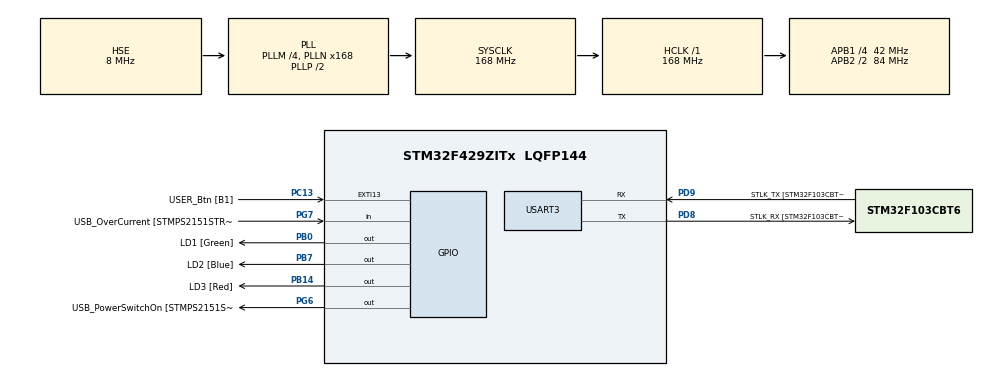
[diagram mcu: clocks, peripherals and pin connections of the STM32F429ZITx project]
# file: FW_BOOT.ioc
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IWDG.Prescaler=IWDG_PRESCALER_256
IWDG.Reload=500
Mcu.Family=STM32F4
Mcu.Name=STM32F429ZITx
Mcu.Package=LQFP144
NVIC.PriorityGroup=NVIC_PRIORITYGROUP_4
PA13.GPIO_Label=TMS
PA13.Mode=Serial_Wire
PA13.Signal=SYS_JTMS-SWDIO
PA14.GPIO_Label=TCK
PA14.Mode=Serial_Wire
PA14.Signal=SYS_JTCK-SWCLK
PB0.GPIO_Label=LD1 [Green]
PB0.Signal=GPIO_Output
PB14.GPIO_Label=LD3 [Red]
PB14.Signal=GPIO_Output
PB7.GPIO_Label=LD2 [Blue]
PB7.Signal=GPIO_Output
PC13.GPIO_Label=USER_Btn [B1]
PC13.Signal=GPXTI13
PC14/OSC32_IN.Mode=LSE-External-Oscillator
PC14/OSC32_IN.Signal=RCC_OSC32_IN
PC15/OSC32_OUT.Mode=LSE-External-Oscillator
PC15/OSC32_OUT.Signal=RCC_OSC32_OUT
PD8.GPIO_Label=STLK_RX [STM32F103CBT6_PA3]
PD8.Mode=Asynchronous
PD8.Signal=USART3_TX
PD9.GPIO_Label=STLK_TX [STM32F103CBT6_PA2]
PD9.Mode=Asynchronous
PD9.Signal=USART3_RX
PG6.GPIO_Label=USB_PowerSwitchOn [STMPS2151STR_EN]
PG6.Signal=GPIO_Output
PG7.GPIO_Label=USB_OverCurrent [STMPS2151STR_FAULT]
PG7.Signal=GPIO_Input
PH0/OSC_IN.GPIO_Label=MCO [STM32F103CBT6_PA8]
PH0/OSC_IN.Mode=HSE-External-Clock-Source
PH0/OSC_IN.Signal=RCC_OSC_IN
PH1/OSC_OUT.Mode=HSE-External-Clock-Source
PH1/OSC_OUT.Signal=RCC_OSC_OUT
ProjectManager.HeapSize=0x200
ProjectManager.StackSize=0x400
ProjectManager.TargetToolchain=STM32CubeIDE
RCC.48MHZClocksFreq_Value=48000000
RCC.AHBFreq_Value=168000000
RCC.APB1CLKDivider=RCC_HCLK_DIV4
RCC.APB1Freq_Value=42000000
RCC.APB1TimFreq_Value=84000000
RCC.APB2CLKDivider=RCC_HCLK_DIV2
RCC.APB2Freq_Value=84000000
RCC.APB2TimCLKDivider=2
RCC.APB2TimFreq_Value=168000000
RCC.CortexFreq_Value=168000000
RCC.HCLKFreq_Value=168000000
RCC.HSE_VALUE=8000000
RCC.HSI_VALUE=16000000
RCC.PLLM=4
RCC.PLLMUL=RCC_PLL_MUL9
RCC.PLLN=168
RCC.PLLQ=7
RCC.PLLSourceVirtual=RCC_PLLSOURCE_HSE
RCC.PRESCALERUSB=RCC_USBCLKSOURCE_PLL_DIV1_5
RCC.SYSCLKFreq_VALUE=168000000
RCC.SYSCLKSource=RCC_SYSCLKSOURCE_PLLCLK
RCC.SYSCLKSourceVirtual=RCC_SYSCLKSOURCE_PLLCLK
RCC.USBFreq_Value=48000000
RCC.VCOOutputFreq_Value=336000000
USART3.VirtualMode=VM_ASYNC
VP_IWDG_VS_IWDG.Mode=IWDG_Activate
board=NUCLEO-F429ZI

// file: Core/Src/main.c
/* USER CODE BEGIN Header */
/**
  ******************************************************************************
  * @file           : main.c
  * @brief          : Main program body
  ******************************************************************************
  * @attention
  *
  * Copyright (c) 2026 STMicroelectronics.
  * All rights reserved.
  *
  * This software is licensed under terms that can be found in the LICENSE file
  * in the root directory of this software component.
  * If no LICENSE file comes with this software, it is provided AS-IS.
  *
  ******************************************************************************
  */
/* USER CODE END Header */
#include "main.h"

/* USER CODE BEGIN Includes */
#include "flash_if.h"
/* USER CODE END Includes */

/* USER CODE BEGIN PD */

/* APP_ADDRESS(0x0801_0000)는 flash_if.h에 정의됨 */

/* RAM 범위: 앱의 초기 스택 포인터가 이 안에 있어야 "유효한 앱"으로 판단 (RAM 192KB) */
#define RAM_START        0x20000000U
#define RAM_END          0x20030000U   /* 0x20000000 + 192KB */

/* USER CODE END PD */

IWDG_HandleTypeDef hiwdg;

UART_HandleTypeDef huart3;

void SystemClock_Config(void);
static void MX_GPIO_Init(void);
static void MX_USART3_UART_Init(void);
static void MX_IWDG_Init(void);
/* USER CODE BEGIN PFP */
static void BL_JumpToApplication(void);
static void BL_EnterUpdateMode(void);
static void BL_HandleUpdate(void);
static uint8_t BL_ApplyStagingToApp(uint32_t size, uint32_t expectCrc);
static void BL_Rollback(void);
static void BL_StartWatchdog(void);
static void BL_EnsureFactory(void);
/* USER CODE END PFP */

int main(void)
{

  /* MCU Configuration--------------------------------------------------------*/

  /* Reset of all peripherals, Initializes the Flash interface and the Systick. */
  HAL_Init();

  /* Configure the system clock */
  SystemClock_Config();

  /* Initialize all configured peripherals */
  MX_GPIO_Init();
  MX_USART3_UART_Init();
  /* MX_IWDG_Init(); */   /* ★★ CubeMX 재생성 때마다 주석이 풀린다 — 매번 다시 주석 처리할 것! ★★
                           * IWDG는 '앱'을 감시하는 장치이지 부트로더를 감시하는 장치가 아니다.
                           * 여기서 켜면 부트로더의 긴 Flash 작업이 4초를 넘겨 스스로 리셋된다:
                           *   · BL_EnsureFactory()   : App→Factory 512KB 복사 (최초 부팅)
                           *   · BL_ApplyStagingToApp(): Staging→App 복사
                           *   · BL_Rollback()        : Factory→App 복사
                           * → 부팅 무한 루프. 워치독은 TRIAL 앱으로 점프하기 직전
                           *   BL_StartWatchdog()에서만 시작한다.
                           * (README 4장 '워치독 원칙' / 9장 트러블슈팅) */
  /* USER CODE BEGIN 2 */

  /* 최초 부팅: Factory 슬롯이 비어있으면 현재 App을 Factory로 복사해 골든 이미지를 확보한다.
   * (첫 ST-Link 펌웨어가 롤백 복귀처가 됨. 이후로는 절대 안 건드림) */
  BL_EnsureFactory();

  /* Metadata 상태 머신 처리:
   *   PENDING  → Staging 적용 → TRIAL(워치독 켜고 시험 부팅)
   *   TRIAL    → (확인 실패로 재리셋됨) → 롤백(Factory→App)
   *   CONFIRMED→ 메타 클리어(정상 확정) */
  BL_HandleUpdate();

  /* USER 버튼(파랑 B1, PC13)을 누른 채 리셋하면 '업데이트 모드'로 진입한다.
   * (나중에는 앱이 세팅한 '업데이트 플래그'로도 진입시킬 예정)
   * 업데이트 모드에서는 앱으로 점프하지 않고 UART로 펌웨어 수신을 대기한다. */
  if (HAL_GPIO_ReadPin(USER_Btn_GPIO_Port, USER_Btn_Pin) == GPIO_PIN_SET)
  {
    BL_EnterUpdateMode();   /* 돌아오지 않음 */
  }

  /* [진단용] 부트로더가 실행됐음을 확인 — 점프 시도 '전'에 LD3를 3회 빠르게 깜빡인다.
   * · 이 3회 깜빡임이 보이면       → 부트로더는 정상 실행됨
   * · 이후 LED가 멈추거나 바뀌면    → 앱으로 점프한 것(앱 영역에 데이터 있음)
   * · 이후 LD3가 계속 천천히 깜빡이면 → 유효 앱 없음(정상 부트로더 모드)
   * · 3회 깜빡임조차 안 보이면      → 부트로더 미실행(빌드/플래시/클럭 문제) */
  for (int i = 0; i < 6; i++)
  {
    HAL_GPIO_TogglePin(LD3_GPIO_Port, LD3_Pin);
    HAL_Delay(100);
  }

  /* 부트로더 진입 직후: 유효한 앱이 있으면 앱으로 점프한다.
   * 유효한 앱이 없으면 아래 while 루프로 떨어져 LED로 '부트로더 모드'를 표시한다. */
  BL_JumpToApplication();

  /* USER CODE END 2 */

  /* Infinite loop */
  while (1)
  {

    /* USER CODE BEGIN 3 */

    /* === 부트로더 모드 표시 ===
     * 여기 도달했다 = 유효한 앱이 없어 점프하지 못하고 부트로더에 머무는 중.
     * LD3(빨강)를 천천히 깜빡여 '부트로더 모드'임을 알린다. */
    HAL_GPIO_TogglePin(LD3_GPIO_Port, LD3_Pin);
    HAL_Delay(500);
  }
  /* USER CODE END 3 */
}

void SystemClock_Config(void)
{
  RCC_OscInitTypeDef RCC_OscInitStruct = {0};
  RCC_ClkInitTypeDef RCC_ClkInitStruct = {0};

  /** Configure the main internal regulator output voltage
  */
  __HAL_RCC_PWR_CLK_ENABLE();
  __HAL_PWR_VOLTAGESCALING_CONFIG(PWR_REGULATOR_VOLTAGE_SCALE1);

  /** Initializes the RCC Oscillators according to the specified parameters
  * in the RCC_OscInitTypeDef structure.
  */
  RCC_OscInitStruct.OscillatorType = RCC_OSCILLATORTYPE_LSI|RCC_OSCILLATORTYPE_HSE;
  RCC_OscInitStruct.HSEState = RCC_HSE_BYPASS;
  RCC_OscInitStruct.LSIState = RCC_LSI_ON;
  RCC_OscInitStruct.PLL.PLLState = RCC_PLL_ON;
  RCC_OscInitStruct.PLL.PLLSource = RCC_PLLSOURCE_HSE;
  RCC_OscInitStruct.PLL.PLLM = 4;
  RCC_OscInitStruct.PLL.PLLN = 168;
  RCC_OscInitStruct.PLL.PLLP = RCC_PLLP_DIV2;
  RCC_OscInitStruct.PLL.PLLQ = 7;
  if (HAL_RCC_OscConfig(&RCC_OscInitStruct) != HAL_OK)
  {
    Error_Handler();
  }

  /** Initializes the CPU, AHB and APB buses clocks
  */
  RCC_ClkInitStruct.ClockType = RCC_CLOCKTYPE_HCLK|RCC_CLOCKTYPE_SYSCLK
                              |RCC_CLOCKTYPE_PCLK1|RCC_CLOCKTYPE_PCLK2;
  RCC_ClkInitStruct.SYSCLKSource = RCC_SYSCLKSOURCE_PLLCLK;
  RCC_ClkInitStruct.AHBCLKDivider = RCC_SYSCLK_DIV1;
  RCC_ClkInitStruct.APB1CLKDivider = RCC_HCLK_DIV4;
  RCC_ClkInitStruct.APB2CLKDivider = RCC_HCLK_DIV2;

  if (HAL_RCC_ClockConfig(&RCC_ClkInitStruct, FLASH_LATENCY_5) != HAL_OK)
  {
    Error_Handler();
  }
}

static void MX_IWDG_Init(void)
{

  hiwdg.Instance = IWDG;
  hiwdg.Init.Prescaler = IWDG_PRESCALER_256;
  hiwdg.Init.Reload = 500;
  if (HAL_IWDG_Init(&hiwdg) != HAL_OK)
  {
    Error_Handler();
  }

}

static void MX_USART3_UART_Init(void)
{

  huart3.Instance = USART3;
  huart3.Init.BaudRate = 115200;
  huart3.Init.WordLength = UART_WORDLENGTH_8B;
  huart3.Init.StopBits = UART_STOPBITS_1;
  huart3.Init.Parity = UART_PARITY_NONE;
  huart3.Init.Mode = UART_MODE_TX_RX;
  huart3.Init.HwFlowCtl = UART_HWCONTROL_NONE;
  huart3.Init.OverSampling = UART_OVERSAMPLING_16;
  if (HAL_UART_Init(&huart3) != HAL_OK)
  {
    Error_Handler();
  }

}

static void MX_GPIO_Init(void)
{
  GPIO_InitTypeDef GPIO_InitStruct = {0};

  /* GPIO Ports Clock Enable */
  __HAL_RCC_GPIOC_CLK_ENABLE();
  __HAL_RCC_GPIOH_CLK_ENABLE();
  __HAL_RCC_GPIOB_CLK_ENABLE();
  __HAL_RCC_GPIOD_CLK_ENABLE();
  __HAL_RCC_GPIOG_CLK_ENABLE();
  __HAL_RCC_GPIOA_CLK_ENABLE();

  /*Configure GPIO pin Output Level */
  HAL_GPIO_WritePin(GPIOB, LD1_Pin|LD3_Pin|LD2_Pin, GPIO_PIN_RESET);

  /*Configure GPIO pin Output Level */
  HAL_GPIO_WritePin(USB_PowerSwitchOn_GPIO_Port, USB_PowerSwitchOn_Pin, GPIO_PIN_RESET);

  /*Configure GPIO pin : USER_Btn_Pin */
  GPIO_InitStruct.Pin = USER_Btn_Pin;
  GPIO_InitStruct.Mode = GPIO_MODE_IT_RISING;
  GPIO_InitStruct.Pull = GPIO_NOPULL;
  HAL_GPIO_Init(USER_Btn_GPIO_Port, &GPIO_InitStruct);

  /*Configure GPIO pins : LD1_Pin LD3_Pin LD2_Pin */
  GPIO_InitStruct.Pin = LD1_Pin|LD3_Pin|LD2_Pin;
  GPIO_InitStruct.Mode = GPIO_MODE_OUTPUT_PP;
  GPIO_InitStruct.Pull = GPIO_NOPULL;
  GPIO_InitStruct.Speed = GPIO_SPEED_FREQ_LOW;
  HAL_GPIO_Init(GPIOB, &GPIO_InitStruct);

  /*Configure GPIO pin : USB_PowerSwitchOn_Pin */
  GPIO_InitStruct.Pin = USB_PowerSwitchOn_Pin;
  GPIO_InitStruct.Mode = GPIO_MODE_OUTPUT_PP;
  GPIO_InitStruct.Pull = GPIO_NOPULL;
  GPIO_InitStruct.Speed = GPIO_SPEED_FREQ_LOW;
  HAL_GPIO_Init(USB_PowerSwitchOn_GPIO_Port, &GPIO_InitStruct);

  /*Configure GPIO pin : USB_OverCurrent_Pin */
  GPIO_InitStruct.Pin = USB_OverCurrent_Pin;
  GPIO_InitStruct.Mode = GPIO_MODE_INPUT;
  GPIO_InitStruct.Pull = GPIO_NOPULL;
  HAL_GPIO_Init(USB_OverCurrent_GPIO_Port, &GPIO_InitStruct);

}

/* USER CODE BEGIN 4 */

/**
  * @brief  APP_ADDRESS에 유효한 애플리케이션이 있으면 그곳으로 점프한다.
  *         유효한 앱이 없으면 그대로 리턴하여 부트로더에 머문다.
  * @note   리셋 시 하드웨어가 하는 동작(SP 로드 -> Reset_Handler 점프)을
  *         소프트웨어로 재현한다.
  */
static void BL_JumpToApplication(void)
{
  /* 벡터 테이블의 맨 앞 2개 워드 = [초기 스택 포인터][Reset_Handler 주소] */
  uint32_t appStack = *(volatile uint32_t *)(APP_ADDRESS);
  uint32_t appEntry = *(volatile uint32_t *)(APP_ADDRESS + 4U);

  /* --- 앱 유효성 검사 ---
   * 앱이 아직 안 구워졌으면 Flash가 지워진 상태(0xFFFFFFFF)라 SP가 RAM 범위를 벗어난다.
   * 초기 스택 포인터가 RAM(0x2000_0000~) 안에 있어야 정상 앱으로 판단한다. */
  if (appStack < RAM_START || appStack > RAM_END)
  {
    return;   /* 유효한 앱 없음 -> 부트로더에 머무름 */
  }

  /* --- 인계(handoff) 전 정리 ---
   * 부트로더가 켜둔 주변장치/인터럽트/SysTick을 끄지 않으면
   * 앱 초기화 도중 남은 인터럽트가 튀어 오동작한다. */
  HAL_RCC_DeInit();
  HAL_DeInit();

  SysTick->CTRL = 0;
  SysTick->LOAD = 0;
  SysTick->VAL  = 0;

  __disable_irq();

  /* 앱의 벡터 테이블로 전환 (★ 앱도 자기 쪽에서 다시 설정하지만 여기서도 맞춰준다) */
  SCB->VTOR = APP_ADDRESS;

  /* 스택 포인터를 앱 것으로 교체 */
  __set_MSP(appStack);

  /* 인터럽트 다시 켜기 (★ 정상 리셋 상태 재현)
   * 안 켜면 앱의 SysTick 인터럽트가 안 울려 HAL_Delay()가 영원히 멈춘다. */
  __enable_irq();

  ((void (*)(void))appEntry)();   /* 여기서 앱이 시작되며, 돌아오지 않는다 */
}

/**
  * @brief  업데이트 모드: 앱으로 점프하지 않고 UART(USART3)로 데이터 수신을 대기한다.
  * @note   [3a 단계] 아직 프로토콜은 없고, UART 링크 검증용이다.
  *         · 진입 시 배너 문자열 송신 + LD2(파랑) 켜기
  *         · 1초간 수신 없으면 '.' 하트비트 송신 (수신 전용 뷰어로도 링크 확인)
  *         · 바이트 수신 시 그대로 echo + LD3(빨강) 토글
  *         이후 3b에서 프로토콜 파서 + FlashIf_Write() 로 확장한다. (돌아오지 않음)
  */
static void BL_EnterUpdateMode(void)
{
  const char banner[] = "\r\n[FW_BOOT] Update mode ready (USART3, 115200 8N1)\r\n";
  uint8_t rxByte;

  HAL_GPIO_WritePin(LD2_GPIO_Port, LD2_Pin, GPIO_PIN_SET);   /* 파랑: 업데이트 모드 */
  HAL_UART_Transmit(&huart3, (uint8_t *)banner, sizeof(banner) - 1U, HAL_MAX_DELAY);

  while (1)
  {
    /* USART3으로 1바이트 수신 (1초 타임아웃) */
    if (HAL_UART_Receive(&huart3, &rxByte, 1U, 1000U) == HAL_OK)
    {
      HAL_UART_Transmit(&huart3, &rxByte, 1U, HAL_MAX_DELAY);   /* echo */
      HAL_GPIO_TogglePin(LD3_GPIO_Port, LD3_Pin);              /* 수신 표시 */
    }
    else
    {
      /* 1초간 수신 없음 → 하트비트 '.' 송신 */
      HAL_UART_Transmit(&huart3, (uint8_t *)".", 1U, HAL_MAX_DELAY);
    }
  }
}

/**
  * @brief  Staging → 실행영역으로 복사·검증한다 (erase + copy + CRC 검증).
  * @return 1: 성공, 0: 실패(Staging 손상 / flash 오류)
  */
static uint8_t BL_ApplyStagingToApp(uint32_t size, uint32_t expectCrc)
{
  if ((size == 0U) || (size > APP_SIZE)) return 0U;

  /* Staging 무결성 (보관 중 손상 확인) */
  if (FlashIf_Crc32((const uint8_t *)STAGING_ADDRESS, size) != expectCrc) return 0U;

  HAL_GPIO_WritePin(LD2_GPIO_Port, LD2_Pin, GPIO_PIN_SET);   /* 적용 중: 파랑 */

  if (FlashIf_EraseRange(APP_ADDRESS, APP_ADDRESS + size - 1U) != FLASH_IF_OK) return 0U;
  if (FlashIf_Write(APP_ADDRESS, (const uint8_t *)STAGING_ADDRESS, (size + 3U) & ~3U) != FLASH_IF_OK) return 0U;
  if (FlashIf_Crc32((const uint8_t *)APP_ADDRESS, size) != expectCrc) return 0U;   /* 복사 결과 검증 */

  HAL_GPIO_WritePin(LD2_GPIO_Port, LD2_Pin, GPIO_PIN_RESET);
  return 1U;
}

/**
  * @brief  Factory(골든 이미지)를 실행영역으로 복사하여 롤백한다.
  */
static void BL_Rollback(void)
{
  HAL_GPIO_WritePin(LD3_GPIO_Port, LD3_Pin, GPIO_PIN_SET);   /* 롤백 중: 빨강 */
  if (FlashIf_EraseRange(APP_ADDRESS, APP_END_ADDRESS) == FLASH_IF_OK)
  {
    FlashIf_Write(APP_ADDRESS, (const uint8_t *)FACTORY_ADDRESS, APP_SIZE);
  }
  HAL_GPIO_WritePin(LD3_GPIO_Port, LD3_Pin, GPIO_PIN_RESET);
}

/**
  * @brief  독립 워치독(IWDG)을 켠다 (약 4초). 시험 부팅 앱이 주기적으로 갱신(pet)하지 않으면 리셋된다.
  * @note   IWDG는 한 번 켜지면 리셋 전까지 못 끈다 → 시험(TRIAL) 부팅에서만 켠다.
  */
static void BL_StartWatchdog(void)
{
  /* CubeMX가 생성한 설정(프리스케일 /256, 리로드 500 ≈ 4초)으로 IWDG를 시작한다.
   * HAL_IWDG_Init()가 내부에서 IWDG를 켜므로, 이 시점(=TRIAL 점프 직전) 이후로는
   * 앱이 주기적으로 갱신(pet)하지 않으면 리셋된다. */
  MX_IWDG_Init();
}

/**
  * @brief  Metadata 상태 머신을 처리한다 (적용/시험/롤백/확인). 부팅마다 호출된다.
  */
static void BL_HandleUpdate(void)
{
  const FwMeta *m = (const FwMeta *)METADATA_ADDRESS;
  FwMeta meta;

  if (m->magic != FW_UPDATE_MAGIC)
  {
    return;   /* 유효 메타 없음 → 정상 부팅 */
  }
  meta = *m;

  switch (meta.state)
  {
    case FW_STATE_PENDING:
      /* 새 펌웨어 적용 성공 → TRIAL로 전환, 워치독 켜고 시험 부팅 */
      if (BL_ApplyStagingToApp(meta.size, meta.crc))
      {
        meta.state    = FW_STATE_TRIAL;
        meta.attempts = 1U;
        FlashIf_WriteMeta(&meta);
        BL_StartWatchdog();
      }
      /* 적용 실패 → PENDING 유지, 다음 부팅 재시도 */
      break;

    case FW_STATE_TRIAL:
      /* 여기 도달 = 직전 시험 부팅이 CONFIRMED에 못 가고 (워치독으로) 리셋됨 */
      if (meta.attempts >= FW_MAX_TRIALS)
      {
        BL_Rollback();          /* 시험 실패 → Factory로 복귀 */
        FlashIf_ClearMeta();
      }
      else
      {
        meta.attempts++;
        FlashIf_WriteMeta(&meta);
        BL_StartWatchdog();     /* 한 번 더 시험 */
      }
      break;

    case FW_STATE_CONFIRMED:
      FlashIf_ClearMeta();      /* 정상 확인됨 → 메타 클리어, 이후 정상 부팅 */
      break;

    default:
      break;                    /* NONE 등 → 정상 부팅 */
  }
}

/**
  * @brief  Factory 슬롯이 비어있으면 현재 App 슬롯 전체를 Factory로 복사한다.
  * @note   최초 1회만 실행(첫 펌웨어를 골든 이미지로 확보). 이후엔 Factory가 유효하므로 즉시 리턴.
  *         App 슬롯 전체(512KB)를 복사하므로 최초 부팅은 수 초 걸릴 수 있다(1회성).
  */
static void BL_EnsureFactory(void)
{
  uint32_t factorySp = *(volatile uint32_t *)FACTORY_ADDRESS;
  uint32_t appSp     = *(volatile uint32_t *)APP_ADDRESS;

  /* Factory가 이미 유효(SP가 RAM 범위)하면 그대로 둔다 */
  if (factorySp >= RAM_START && factorySp <= RAM_END)
  {
    return;
  }

  /* App이 유효하지 않으면 복사할 원본이 없다 */
  if (appSp < RAM_START || appSp > RAM_END)
  {
    return;
  }

  /* 캡처 중 표시: 초록+파랑 켜기 */
  HAL_GPIO_WritePin(LD1_GPIO_Port, LD1_Pin, GPIO_PIN_SET);
  HAL_GPIO_WritePin(LD2_GPIO_Port, LD2_Pin, GPIO_PIN_SET);

  /* App 슬롯 전체 → Factory 복사 */
  if (FlashIf_EraseRange(FACTORY_ADDRESS, FACTORY_END_ADDRESS) == FLASH_IF_OK)
  {
    FlashIf_Write(FACTORY_ADDRESS, (const uint8_t *)APP_ADDRESS, APP_SIZE);
  }

  HAL_GPIO_WritePin(LD1_GPIO_Port, LD1_Pin, GPIO_PIN_RESET);
  HAL_GPIO_WritePin(LD2_GPIO_Port, LD2_Pin, GPIO_PIN_RESET);
}

/* USER CODE END 4 */

void Error_Handler(void)
{
  __disable_irq();
  while (1)
  {
  }
}
